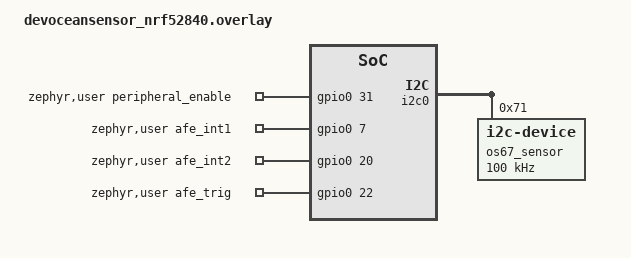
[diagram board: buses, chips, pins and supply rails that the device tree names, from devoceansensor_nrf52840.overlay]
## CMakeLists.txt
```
cmake_minimum_required(VERSION 3.20.0)
find_package(Zephyr REQUIRED HINTS $ENV{ZEPHYR_BASE})

project(OceanSensordemo)
include_directories(inc)


target_sources(app PRIVATE src/main.c src/max86177.c)
```

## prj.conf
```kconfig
CONFIG_GPIO=y

CONFIG_CBPRINTF_FP_SUPPORT=y
# Enable I2C
CONFIG_I2C=y

# Enable serial console
CONFIG_SERIAL=y
CONFIG_CONSOLE=y
CONFIG_CONSOLE_SUBSYS=y
CONFIG_UART_CONSOLE=y
CONFIG_CONSOLE_HANDLER=y
CONFIG_CONSOLE_GETCHAR=y
```

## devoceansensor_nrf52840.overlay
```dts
&i2c0 {
    os67_sensor: os67_sensor@71{
        compatible = "i2c-device";
        reg = < 0x71 >;
        label = "os67_sensor";
        clock-frequency = <I2C_BITRATE_STANDARD>;
    };
};


/ {
    zephyr,user {
		peripheral_enable-gpios = <&gpio0 31 GPIO_ACTIVE_HIGH>;
		afe_int1-gpios = <&gpio0 7 (GPIO_PULL_DOWN | GPIO_ACTIVE_HIGH)>;
        afe_int2-gpios = <&gpio0 20 (GPIO_PULL_DOWN | GPIO_ACTIVE_HIGH)>;
        afe_trig-gpios = <&gpio0 22 GPIO_ACTIVE_HIGH>;
    };
};
```

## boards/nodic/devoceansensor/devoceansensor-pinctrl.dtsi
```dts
&pinctrl {
	uart0_default: uart0_default {
		group1 {
			psels = <NRF_PSEL(UART_RX, 0, 24)>, <NRF_PSEL(UART_TX, 0, 13)>;
		};
	};

	uart0_sleep: uart0_sleep {
		group1 {
			psels = <NRF_PSEL(UART_TX, 0, 13)>, <NRF_PSEL(UART_RX, 0, 24)>;
		};
	};

    i2c0_default: i2c0_default {
		group1 {
			psels = <NRF_PSEL(TWIM_SCL, 0, 15)>, <NRF_PSEL(TWIM_SDA, 0, 17)>;
		};
	};
};
```

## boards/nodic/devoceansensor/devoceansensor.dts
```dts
/dts-v1/;
#include <nordic/nrf52840_qiaa.dtsi>
#include "devoceansensor-pinctrl.dtsi"
#include <zephyr/dt-bindings/input/input-event-codes.h>

/ {
    model = "oceansensor_board";
    compatible = "nordic,devoceansensor";

    chosen {
        zephyr,sram = &sram0;
        zephyr,flash = &flash0;
        zephyr,code-partition = &slot0_partition;
        zephyr,console = &uart0;
        zephyr,shell-uart = &uart0;
        zephyr,uart-mcumgr = &uart0;
    };

    leds {
        compatible = "gpio-leds";
        led0: led_0 {
            gpios = <&gpio1 11 GPIO_ACTIVE_LOW>;
            label = "LED0";
        };
        led1: led_1 {
            gpios = <&gpio1 10 GPIO_ACTIVE_LOW>;
            label = "LED1";
        };
    };

    buttons {
        compatible = "gpio-keys";
        sw3: button_0 {
            gpios = <&gpio0 3 (GPIO_PULL_UP | GPIO_ACTIVE_LOW)>;
            label = "Push button switch 0";
            zephyr,code = <INPUT_KEY_0>;
        };
    };
 
    /* These aliases must be directly under the root node */
    aliases {
        led0 = &led0;
        led1 = &led1;
        sw3 = &sw3;
    };

	zephyr,user {
		peripheral_enable-gpios = <&gpio0 31 GPIO_ACTIVE_HIGH>;
		afe_int1-gpios = <&gpio0 7 (GPIO_PULL_DOWN | GPIO_ACTIVE_HIGH)>;
        afe_int2-gpios = <&gpio0 20 (GPIO_PULL_DOWN | GPIO_ACTIVE_HIGH)>;
        afe_trig-gpios = <&gpio0 22 GPIO_ACTIVE_HIGH>;
	};
};


&flash0 {
	partitions {
		compatible = "fixed-partitions";
		#address-cells = <1>;
		#size-cells = <1>;

		boot_partition: partition@0 {
			label = "mcuboot";
			reg = <0x00000000 DT_SIZE_K(48)>;
		};

		slot0_partition: partition@c000 {
			label = "image-0";
			reg = <0x0000c000 DT_SIZE_K(472)>;
		};

		slot1_partition: partition@82000 {
			label = "image-1";
			reg = <0x00082000 DT_SIZE_K(472)>;
		};

		storage_partition: partition@f8000 {
			label = "storage";
			reg = <0x000f8000 DT_SIZE_K(32)>;
		};
	};
};

&gpiote {
	status = "okay";
};

&gpio0 {
	status = "okay";
};

&gpio1 {
	status = "okay";
};

&uart0 {
	compatible = "nordic,nrf-uarte";
	status = "okay";
	current-speed = <115200>;
	pinctrl-0 = <&uart0_default>;
	pinctrl-1 = <&uart0_sleep>;
	pinctrl-names = "default", "sleep";
};

&i2c0 {
	compatible = "nordic,nrf-twi";
	status = "okay";
	pinctrl-0 = <&i2c0_default>;
	pinctrl-names = "default";
};
```

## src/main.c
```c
#include <zephyr/kernel.h>
#include <zephyr/drivers/gpio.h>
#include <zephyr/drivers/i2c.h>
#include <zephyr/sys/printk.h>
#include "max86177.h"
#include <stdio.h>

/* Delay interval in milliseconds */
#define SLEEP_MS 1000
/* Devicetree aliases */
#define LED0_NODE DT_ALIAS(led0)
#define LED1_NODE DT_ALIAS(led1)
#define SW3_NODE  DT_ALIAS(sw3)
/* Node for the peripheral enable pin (originally zephyr_user) */
#define PERIPHERAL_ENABLE_NODE DT_PATH(zephyr_user)
/* Node for the peripheral enable pin (originally zephyr_user) */
#define AFE_TRIG_NODE DT_PATH(zephyr_user)
#define AFE_INT1_NODE DT_PATH(zephyr_user)
#define AFE_INT2_NODE DT_PATH(zephyr_user)


/* Define a variable of type static struct gpio_callback */
static struct gpio_callback afe_int1_cb_data;
static const struct gpio_dt_spec afe_trig = GPIO_DT_SPEC_GET(AFE_TRIG_NODE, afe_trig_gpios);
static const struct gpio_dt_spec afe_int1 = GPIO_DT_SPEC_GET(AFE_INT1_NODE, afe_int1_gpios);
static const struct gpio_dt_spec afe_int2 = GPIO_DT_SPEC_GET(AFE_INT2_NODE, afe_int2_gpios);

/* GPIO device structures derived from devicetree */
static const struct gpio_dt_spec led0 = GPIO_DT_SPEC_GET(LED0_NODE, gpios);
static const struct gpio_dt_spec led1 = GPIO_DT_SPEC_GET(LED1_NODE, gpios);
static const struct gpio_dt_spec sw3  = GPIO_DT_SPEC_GET(SW3_NODE,  gpios);
static const struct gpio_dt_spec peripheral_enable =
    GPIO_DT_SPEC_GET(PERIPHERAL_ENABLE_NODE, peripheral_enable_gpios);

/*  Define the callback function */
void afe_int1_isr(const struct device *dev, struct gpio_callback *cb, uint32_t pins)
{
	//gpio_pin_toggle_dt(&led);
   OS67_read_fifo();
}
/**
 * @brief Read the current state of the button.
 *
 * @return 0 if the button is pressed (logic low), 1 if the button is not pressed (logic high).
 */
int oceansensor_read_btn(void)
{
    return gpio_pin_get_dt(&sw3);
}

/**
 * @brief Control an LED based on the button state.
 *
 * If the button is pressed (logic low), turn on the LED (set it low if active-low).
 * Otherwise, turn off the LED (set it high if active-low).
 *
 * @param button Pointer to the button's gpio_dt_spec structure.
 * @param led    Pointer to the LED's gpio_dt_spec structure.
 */
void button_led_control(const struct gpio_dt_spec *button,
                        const struct gpio_dt_spec *led)
{
    int btn_state = gpio_pin_get_dt(button);

    if (btn_state == 0) {
        /* Button is pressed (low) */
        gpio_pin_set_dt(led, 0);  /* Turn LED on (active-low) */
    } else {
        /* Button is not pressed (high) */
        gpio_pin_set_dt(led, 1);  /* Turn LED off (active-low) */
    }
}

/**
 * @brief Initialize the LED and button GPIO pins.
 *
 * @return 0 if successful, otherwise a nonzero error code.
 */
int oceansensor_led_sw_init(void)
{
    int err = 0;

    /* Verify that the GPIO devices are ready */
    err |= !gpio_is_ready_dt(&led0);
    err |= !gpio_is_ready_dt(&led1);
    err |= !gpio_is_ready_dt(&sw3);

    if (err) {
        return err;
    }

    /* Configure the LED pins as outputs (initially inactive / off) */
    err |= gpio_pin_configure_dt(&led0, GPIO_OUTPUT_INACTIVE);
    err |= gpio_pin_configure_dt(&led1, GPIO_OUTPUT_INACTIVE);

    /* Configure the button pin as an input with pull-up */
    err |= gpio_pin_configure_dt(&sw3, GPIO_INPUT | GPIO_PULL_UP);

    if (err) {
        return err;
    }

    return 0;
}
void OS67_sensor_init(void)
{
    int ret;

    /* Check if the device controlling the peripheral enable pin is ready */
    if (!device_is_ready(peripheral_enable.port)) {
        printk("GPIO device for peripheral_enable not ready.\n");
        return;
    }

    /* Configure peripheral_enable pin as output, initially set to inactive (low) */
    gpio_pin_configure_dt(&peripheral_enable, GPIO_OUTPUT_INACTIVE);

    /* Drive the pin high to enable the peripheral */
    gpio_pin_set_dt(&peripheral_enable, 1);

    /* Configure the interrupt 1 pin */
    gpio_pin_configure_dt(&afe_int1, GPIO_INPUT);

    ret = gpio_pin_interrupt_configure_dt(&afe_int1, GPIO_INT_EDGE_TO_ACTIVE);
    if (ret) {
        printk("Failed to configure interrupt on afe_int1 pin.\n");
        return;
    }

    /* Initialize the static struct gpio_callback variable */
    gpio_init_callback(&afe_int1_cb_data, afe_int1_isr, BIT(afe_int1.pin));

    /* Add the callback function by calling gpio_add_callback() */
    gpio_add_callback(afe_int1.port, &afe_int1_cb_data);

    /* Perform I2C initialization for the sensor */
    os67_sensor_i2c_init();
    k_msleep(50);

    /* Enable the OS67 sensor */
    OS67_enable();
    k_msleep(50);
    printk("OS67 sensor initialization complete.\n");
}

int main(void)
{
    /* Initialize the LEDs and the button */
    if (oceansensor_led_sw_init() != 0) {
        printk("Failed to initialize GPIO\n");
        return -1;
    }
    /* Initialize the OS67 sensor */
    OS67_sensor_init();
    k_msleep(SLEEP_MS);
    k_msleep(SLEEP_MS);
    OS67_read_fifo();
    while (1) {
        /* Update LED1 based on the sw3 button state */
       button_led_control(&sw3, &led1);
        /* Delay to avoid excessive polling */
        k_msleep(SLEEP_MS);
    }
    return 0;
}
```

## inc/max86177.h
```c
/**
 * @file max86177.h
 * @author
 *         mengyao liu <mengyao.liu@kuleuven.be>
 * @brief  max86177 library file
 * @version 0.1
 * @date 2025-01-04
 *
 * @copyright
 *         Copyright (c) 2025
 */

#ifndef MAX86177_H
#define MAX86177_H

#include <stddef.h>
#include <stdint.h>
#include <stdbool.h> // for `bool`

/* ----------------------------------------------------------------------------
 *  Common Macros
 * ---------------------------------------------------------------------------- */

/* Example data headers (can be adjusted as needed) */
#define COMM_DATA_HEADER          0xAA
#define COMM_DATA_OVF_HEADER      0xBB

/* Number of bytes to read for interrupt status */
#define OS67_INTERRUPT_STATUS_CNT 5  // Adjust based on your code/log requirements

/* ----------------------------------------------------------------------------
 *  Register Addresses
 * ---------------------------------------------------------------------------- */
/* Interrupt status registers */
#define OS67_INTERRUPT_STATUS_1       0x00
#define OS67_INTERRUPT_STATUS_2       0x01
#define OS67_INTERRUPT_STATUS_1_ENABLE 0xFA

/* Other registers */
#define OS67_OVF                 0x03
#define OS67_FIFO_DATA_CNT       0x04
#define OS67_FIFO_DATA           0x08
#define OS67_FIFO_CONF_2         0x09
#define OS67_SYSTEM_CONF_1       0x0D
#define OS67_INTERRUPT_PIN_CON   0x0E

/* PPG measurement selects */
#define OS67_PPG_MEAS_SELECT_1   0x11
#define OS67_PPG_MEAS_SELECT_2   0x12
#define OS67_PPG_MEAS_SELECT_3   0x13
#define OS67_PPG_FILTER_SETUP    0x14

/* ----------------------------------------------------------------------------
 *  FIFO Configuration Bits
 * ---------------------------------------------------------------------------- */
#define OS67_FLUSH_FIFO          (1 << 4)
#define OS67_FIFO_SIZE           1

/* ----------------------------------------------------------------------------
 *  System Configuration Bits
 * ---------------------------------------------------------------------------- */
#define OS67_SHDN                (1 << 1)

/* ----------------------------------------------------------------------------
 *  Interrupt Configuration
 * ---------------------------------------------------------------------------- */
/* Interrupt enable bits (Interrupt1 Enable at register 0xFA). 
 * For example, FIFO_DATA_RDY_EN1 (bit 5).
 */
#define FIFO_DATA_RDY_EN1        (1 << 5)

/* Interrupt pin functional configuration (register 0x0E).
 * Suppose bits [2:1] = 01 => INT1 is enabled & auto-clear on status read.
 */
#define INT1_FCFG_ENABLE         0x02  

/* Example: enable FIFO_DATA_RDY_EN1 interrupt output to INT1 pin. 
 * bit5=1 => 0x20 
 */
#define INT1_STATE_ENABLE        0x20

/* Measurement bits to be enabled */
#define OS67_MEAS1_EN            (1 << 0)  // bit0
#define OS67_MEAS3_EN            (1 << 2)  // bit2

/* ----------------------------------------------------------------------------
 *  MEAS1 Setup (Registers 0x17 ~ 0x1E + PD SEL 0x1F ~ 0x21)
 * ---------------------------------------------------------------------------- */
/* 1) Register Address Macros */
#define MEAS1_SELECTS         0x17 // [7]AMB, [6..4]DRVB, [3..1]DRVA
#define MEAS1_CONFIG_1        0x18 // [7]DAC_LO_NOISE, [6]FILT2_SEL, [5..4]TINT, [3..1]AVER
#define MEAS1_CONFIG_2        0x19 // [7]SINC3_SEL, [6]FILT_SEL, [5..4]PPG4_RGE, ...
#define MEAS1_CONFIG_3        0x1A // [7..4]PPG2_DACOFF, [3..0]PPG1_DACOFF
#define MEAS1_CONFIG_4        0x1B // [7..4]PPG4_DACOFF, [3..0]PPG3_DACOFF
#define MEAS1_CONFIG_5        0x1C // [5..4]PD_SETLNG, [3..2]LED_SETLNG, [1..0]LED_RGE
#define MEAS1_LEDA_CURRENT    0x1D // [7..0] = DRVA_PA
#define MEAS1_LEDB_CURRENT    0x1E // [7..0] = DRVB_PA

/* PD selection registers */
#define MEAS1_PD_SEL_1        0x1F // PD1_SEL/PD2_SEL/PD3_SEL
#define MEAS1_PD_SEL_2        0x20 // PD4_SEL/PD5_SEL/PD6_SEL
#define MEAS1_PD_SEL_3        0x21 // PD7_SEL/PD8_SEL

/* 2) Bit Masks and Positions */
// (A) MEAS1_SELECTS (0x17)
#define MEAS1_AMB_MASK        (1 << 6)              // Bit6 => 1=ambient only, 0=normal
#define MEAS1_DRVB_POS        3
#define MEAS1_DRVB_MASK       (0x7 << MEAS1_DRVB_POS) // bits[5..3]
#define MEAS1_DRVA_POS        0
#define MEAS1_DRVA_MASK       (0x7 << MEAS1_DRVA_POS) // bits[2..0]

// (B) MEAS1_CONFIG_1 (0x18)
#define MEAS1_DAC_LO_NOISE_MASK  (1 << 7)
#define MEAS1_FILT2_SEL_MASK     (1 << 6)

/* TINT */
#define MEAS1_TINT_POS           4
#define MEAS1_TINT_MASK          (0x3 << MEAS1_TINT_POS)
#define MEAS1_TINT_14us          (0x0 << MEAS1_TINT_POS)
#define MEAS1_TINT_29us          (0x1 << MEAS1_TINT_POS)
#define MEAS1_TINT_59us          (0x2 << MEAS1_TINT_POS)
#define MEAS1_TINT_117us         (0x3 << MEAS1_TINT_POS)

/* AVER */
#define MEAS1_AVER_POS           1
#define MEAS1_AVER_MASK          (0x7 << MEAS1_AVER_POS)
#define MEAS1_AVER_1pulse        (0x0 << MEAS1_AVER_POS)
#define MEAS1_AVER_2pulse        (0x1 << MEAS1_AVER_POS)
// ...additional averaging modes as needed

// (C) MEAS1_CONFIG_2 (0x19)
#define MEAS1_SINC3_SEL_MASK     (1 << 7)
#define MEAS1_FILT_SEL_MASK      (1 << 6)

/* PPG4, PPG3, PPG2, PPG1 ADC range positions and masks */
#define MEAS1_PPG4_ADC_RGE_POS   6
#define MEAS1_PPG4_ADC_RGE_MASK  (0x3 << MEAS1_PPG4_ADC_RGE_POS)

#define MEAS1_PPG3_ADC_RGE_POS   4
#define MEAS1_PPG3_ADC_RGE_MASK  (0x3 << MEAS1_PPG3_ADC_RGE_POS)

#define MEAS1_PPG2_ADC_RGE_POS   2
#define MEAS1_PPG2_ADC_RGE_MASK  (0x3 << MEAS1_PPG2_ADC_RGE_POS)

/* Newly added for PPG1 */
#define MEAS1_PPG1_ADC_RGE_POS   0
#define MEAS1_PPG1_ADC_RGE_MASK  (0x3 << MEAS1_PPG1_ADC_RGE_POS)

// (E) MEAS1_CONFIG_5 (0x1C)
#define MEAS1_PD_SETLNG_POS      4
#define MEAS1_PD_SETLNG_MASK     (0x3 << MEAS1_PD_SETLNG_POS)

#define MEAS1_LED_SETLNG_POS     2
#define MEAS1_LED_SETLNG_MASK    (0x3 << MEAS1_LED_SETLNG_POS)

#define MEAS1_LED_RGE_POS        0
#define MEAS1_LED_RGE_MASK       (0x3 << MEAS1_LED_RGE_POS)

/* PD selection in 0x1F and 0x20 */
// PD1_SEL => 0x1F bits[2..0]
#define PD1_SEL_POS              0
#define PD1_SEL_MASK             (0x7 << PD1_SEL_POS)
// PD2_SEL => 0x1F bits[5..3]
#define PD2_SEL_POS              3
#define PD2_SEL_MASK             (0x7 << PD2_SEL_POS)

/* PD3_SEL is split between 0x1F and 0x20:
 * 0x1F bits [7..6] => PD3_SEL[2..1]
 * 0x20 bit  [0]    => PD3_SEL[0]
 */
#define PD3_SEL_HIGH_POS         6
#define PD3_SEL_HIGH_MASK        (0x3 << PD3_SEL_HIGH_POS)
#define PD3_SEL_LOW_POS          0
#define PD3_SEL_LOW_MASK         (0x1 << PD3_SEL_LOW_POS)

// PD4_SEL => 0x20 bits[3..1]
#define PD4_SEL_POS              1
#define PD4_SEL_MASK             (0x7 << PD4_SEL_POS)

/* ----------------------------------------------------------------------------
 *  MEAS3 Setup (Registers 0x2D ~ 0x34 + PD SEL 0x35 ~ 0x37)
 * ---------------------------------------------------------------------------- */
/* 1) Register Address Macros */
#define MEAS3_SELECTS          0x2D
#define MEAS3_CONFIG_1         0x2E
#define MEAS3_CONFIG_2         0x2F
#define MEAS3_CONFIG_3         0x30
#define MEAS3_CONFIG_4         0x31
#define MEAS3_CONFIG_5         0x32
#define MEAS3_LEDA_CURRENT     0x33
#define MEAS3_LEDB_CURRENT     0x34
#define MEAS3_PD_SEL_1         0x35
#define MEAS3_PD_SEL_2         0x36
#define MEAS3_PD_SEL_3         0x37

/* 2) Bit Masks and Positions */
// (A) MEAS3_SELECTS (0x2D)
#define MEAS3_AMB_MASK         (1 << 6)            // Bit6 => 1=ambient only
#define MEAS3_DRVB_POS         3
#define MEAS3_DRVB_MASK        (0x7 << MEAS3_DRVB_POS) // bits[5..3]
#define MEAS3_DRVA_POS         0
#define MEAS3_DRVA_MASK        (0x7 << MEAS3_DRVA_POS) // bits[2..0]

// (B) MEAS3_CONFIG_1 (0x2E)
#define MEAS3_DAC_LO_NOISE_MASK (1 << 6) // Bit6
#define MEAS3_FILT2_SEL_MASK    (1 << 5) // Bit5

#define MEAS3_TINT_POS          3
#define MEAS3_TINT_MASK         (0x3 << MEAS3_TINT_POS)
/* e.g., 0x3 => 117us (example assumption) */
#define MEAS3_TINT_117us        (0x3 << MEAS3_TINT_POS)

#define MEAS3_AVER_POS          0
#define MEAS3_AVER_MASK         (0x7 << MEAS3_AVER_POS)

// (C) MEAS3_CONFIG_2 (0x2F)
#define MEAS3_SINC3_SEL_MASK    (1 << 7)
#define MEAS3_FILT_SEL_MASK     (1 << 6)

#define MEAS3_PPG4_ADC_RGE_POS  4
#define MEAS3_PPG4_ADC_RGE_MASK (0x3 << MEAS3_PPG4_ADC_RGE_POS)

#define MEAS3_PPG3_ADC_RGE_POS  2
#define MEAS3_PPG3_ADC_RGE_MASK (0x3 << MEAS3_PPG3_ADC_RGE_POS)

#define MEAS3_PPG2_ADC_RGE_POS  0
#define MEAS3_PPG2_ADC_RGE_MASK (0x3 << MEAS3_PPG2_ADC_RGE_POS)

/* Also defined for PPG1 (may overlap with above usage) */
#define MEAS3_PPG1_ADC_RGE_POS  0
#define MEAS3_PPG1_ADC_RGE_MASK (0x3 << MEAS3_PPG1_ADC_RGE_POS)

/* PD and LED settings (MEAS3_CONFIG_x or other registers) */
#define MEAS3_PD_SETLNG_MASK    (0x3 << 4) // bits[5..4]
#define MEAS3_PD_SETLNG_POS     4
#define MEAS3_LED_SETLNG_MASK   (0x3 << 2) // bits[3..2]
#define MEAS3_LED_SETLNG_POS    2
#define MEAS3_LED_RGE_MASK      (0x3 << 0) // bits[1..0]
#define MEAS3_LED_RGE_POS       0

/* PD1/PD2/PD3/PD4 selection */
#define MEAS3_PD1_SEL_POS       0
#define MEAS3_PD1_SEL_MASK      (0x7 << MEAS3_PD1_SEL_POS)

#define MEAS3_PD2_SEL_POS       2
#define MEAS3_PD2_SEL_MASK      (0x7 << MEAS3_PD2_SEL_POS)

#define MEAS3_PD3_SEL_POS_HIGH  6
#define MEAS3_PD3_SEL_MASK_HIGH (0x3 << MEAS3_PD3_SEL_POS_HIGH)

#define MEAS3_PD3_SEL_POS_LOW   0
#define MEAS3_PD3_SEL_MASK_LOW  (0x1 << MEAS3_PD3_SEL_POS_LOW)

#define MEAS3_PD4_SEL_POS       1
#define MEAS3_PD4_SEL_MASK      (0x7 << MEAS3_PD4_SEL_POS)

/* ----------------------------------------------------------------------------
 *  I2C Read/Write Functions
 * ---------------------------------------------------------------------------- */
bool writeI2CRegister(uint8_t reg, uint8_t value);
bool readI2CRegister(uint8_t reg, uint8_t *values, size_t len, bool print);

/* ----------------------------------------------------------------------------
 *  Sensor Configuration Functions
 * ---------------------------------------------------------------------------- */
void OS67_enable(void);
void config_MEAS1(void);
void config_MEAS3(void);

/* ----------------------------------------------------------------------------
 *  Sensor Functional Functions
 * ---------------------------------------------------------------------------- */
int  os67_sensor_i2c_init(void);
void OS67_read_fifo(void);

#endif /* MAX86177_H */
```
